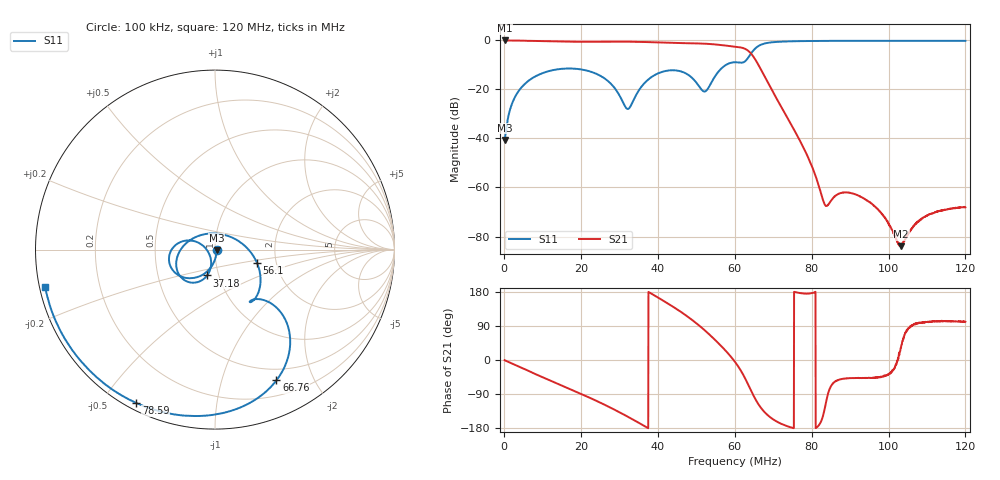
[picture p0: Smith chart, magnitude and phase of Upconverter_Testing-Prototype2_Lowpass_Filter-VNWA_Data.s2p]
! ListType=Lin
# MHZ S DB R 50
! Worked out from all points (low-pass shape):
!   2048 points, 100 kHz to 120 MHz, reference 50 ohm
!   highest |S21| = -0.11 dB at 100 kHz (marker M1); lowest = -83.9 dB at 103.3 MHz (marker M2)
!   |S21| within 3 dB of the highest: start of sweep to 61.93 MHz
!   lowest |S11| = -40.7 dB at 100 kHz (marker M3), VSWR 1.02, Z = 50.9 - j0.245 ohm
!   |S11| at or under -10 dB: start of sweep to 57.78 MHz
!   S12 and S22 are empty: the file has one direction only
!   S11 on the Smith chart (normalised r, x): 100 kHz: 1.02, -0.00; 37.18 MHz: 0.88, -0.26; 56.1 MHz: 1.59, -0.25; 66.76 MHz: 0.37, -1.51; 78.59 MHz: 0.03, -0.61; 120 MHz: 0.02, -0.11
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0.1  -40.68 -15.1  -0.11 -0.4  -3000.00 -90.0  -3000.00 -90.0
2.26722  -24.94 -90.6  -0.15 -10.5  -3000.00 -90.0  -3000.00 -90.0
5.840205  -17.16 -111.9  -0.26 -26.6  -3000.00 -90.0  -3000.00 -90.0
20.13214  -11.94 -174.9  -0.67 -89.9  -3000.00 -90.0  -3000.00 -90.0
26.92667  -16.55 159.9  -0.61 -122.1  -3000.00 -90.0  -3000.00 -90.0
32.08114  -28.03 -155.5  -0.60 -149.3  -3000.00 -90.0  -3000.00 -90.0
37.17704  -16.44 -106.9  -0.76 -178.3  -3000.00 -90.0  -3000.00 -90.0
40.10572  -13.48 -120.1  -0.93 164.3  -3000.00 -90.0  -3000.00 -90.0
49.6532  -16.63 158.7  -1.30 99.7  -3000.00 -90.0  -3000.00 -90.0
52.34758  -20.83 75.4  -1.43 76.9  -3000.00 -90.0  -3000.00 -90.0
56.09629  -12.19 -17.7  -1.94 40.6  -3000.00 -90.0  -3000.00 -90.0
60.07929  -8.99 -54.3  -2.63 -5.4  -3000.00 -90.0  -3000.00 -90.0
63.41798  -7.26 -43.8  -4.24 -63.6  -3000.00 -90.0  -3000.00 -90.0
66.75667  -1.89 -64.8  -11.82 -125.6  -3000.00 -90.0  -3000.00 -90.0
78.58852  -0.35 -117.2  -46.11 175.0  -3000.00 -90.0  -3000.00 -90.0
80.05286  -0.33 -120.5  -51.33 176.3  -3000.00 -90.0  -3000.00 -90.0
83.68442  -0.28 -127.8  -67.54 -113.8  -3000.00 -90.0  -3000.00 -90.0
90.88896  -0.25 -139.2  -62.55 -47.8  -3000.00 -90.0  -3000.00 -90.0
100.0264  -0.24 -150.2  -74.93 -37.9  -3000.00 -90.0  -3000.00 -90.0
103.3065  -0.24 -153.5  -83.92 37.3  -3000.00 -90.0  -3000.00 -90.0
110.5111  -0.25 -160.0  -70.97 100.4  -3000.00 -90.0  -3000.00 -90.0
120  -0.28 -167.5  -68.12 101.0  -3000.00 -90.0  -3000.00 -90.0
